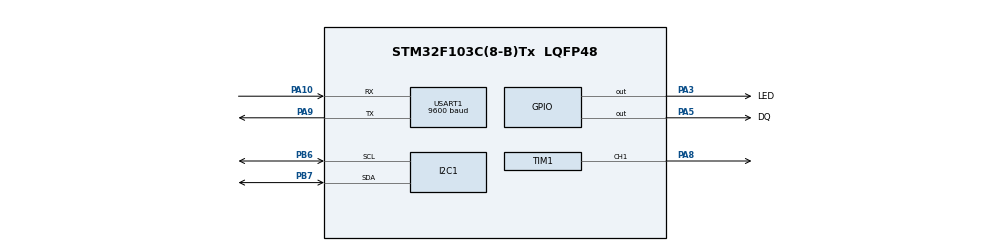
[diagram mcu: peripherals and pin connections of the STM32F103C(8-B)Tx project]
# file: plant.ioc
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Dma.I2C1_RX.2.Direction=DMA_PERIPH_TO_MEMORY
Dma.I2C1_RX.2.Instance=DMA1_Channel7
Dma.I2C1_RX.2.MemDataAlignment=DMA_MDATAALIGN_BYTE
Dma.I2C1_RX.2.MemInc=DMA_MINC_ENABLE
Dma.I2C1_RX.2.Mode=DMA_CIRCULAR
Dma.I2C1_RX.2.PeriphDataAlignment=DMA_PDATAALIGN_BYTE
Dma.I2C1_RX.2.PeriphInc=DMA_PINC_DISABLE
Dma.I2C1_RX.2.Priority=DMA_PRIORITY_LOW
Dma.I2C1_TX.1.Direction=DMA_MEMORY_TO_PERIPH
Dma.I2C1_TX.1.Instance=DMA1_Channel6
Dma.I2C1_TX.1.MemDataAlignment=DMA_MDATAALIGN_BYTE
Dma.I2C1_TX.1.MemInc=DMA_MINC_ENABLE
Dma.I2C1_TX.1.Mode=DMA_CIRCULAR
Dma.I2C1_TX.1.PeriphDataAlignment=DMA_PDATAALIGN_BYTE
Dma.I2C1_TX.1.PeriphInc=DMA_PINC_DISABLE
Dma.I2C1_TX.1.Priority=DMA_PRIORITY_LOW
Dma.Request0=USART1_TX
Dma.Request1=I2C1_TX
Dma.Request2=I2C1_RX
Dma.USART1_TX.0.Direction=DMA_MEMORY_TO_PERIPH
Dma.USART1_TX.0.Instance=DMA1_Channel4
Dma.USART1_TX.0.MemDataAlignment=DMA_MDATAALIGN_BYTE
Dma.USART1_TX.0.MemInc=DMA_MINC_ENABLE
Dma.USART1_TX.0.Mode=DMA_CIRCULAR
Dma.USART1_TX.0.PeriphDataAlignment=DMA_PDATAALIGN_BYTE
Dma.USART1_TX.0.PeriphInc=DMA_PINC_DISABLE
Dma.USART1_TX.0.Priority=DMA_PRIORITY_LOW
I2C1.I2C_Mode=I2C_Standard
Mcu.Family=STM32F1
Mcu.Name=STM32F103C(8-B)Tx
Mcu.Package=LQFP48
NVIC.DMA1_Channel4_IRQn=true\:0\:0\:false\:false\:true\:false\:true\:true
NVIC.DMA1_Channel6_IRQn=true\:0\:0\:false\:false\:true\:false\:true\:true
NVIC.DMA1_Channel7_IRQn=true\:0\:0\:false\:false\:true\:false\:true\:true
NVIC.PriorityGroup=NVIC_PRIORITYGROUP_4
NVIC.USART1_IRQn=true\:0\:0\:false\:false\:true\:true\:true\:true
PA10.Mode=Asynchronous
PA10.Signal=USART1_RX
PA3.GPIO_Label=LED
PA3.GPIO_PuPd=GPIO_PULLUP
PA3.GPIO_Speed=GPIO_SPEED_FREQ_HIGH
PA3.PinState=GPIO_PIN_SET
PA3.Signal=GPIO_Output
PA5.GPIO_Label=DQ
PA5.GPIO_PuPd=GPIO_PULLDOWN
PA5.GPIO_Speed=GPIO_SPEED_FREQ_HIGH
PA5.Signal=GPIO_Output
PA8.Signal=S_TIM1_CH1
PA9.Mode=Asynchronous
PA9.Signal=USART1_TX
PB6.Mode=I2C
PB6.Signal=I2C1_SCL
PB7.Mode=I2C
PB7.Signal=I2C1_SDA
ProjectManager.HeapSize=0x200
ProjectManager.StackSize=0x400
ProjectManager.TargetToolchain=Makefile
RCC.APB1Freq_Value=8000000
RCC.APB2Freq_Value=8000000
SH.S_TIM1_CH1.0=TIM1_CH1,Output Compare1 CH1
TIM1.Channel-Output\ Compare1\ CH1=TIM_CHANNEL_1
USART1.BaudRate=9600
USART1.Mode=MODE_TX_RX
USART1.Parity=PARITY_NONE
USART1.VirtualMode=VM_ASYNC
USART1.WordLength=WORDLENGTH_8B
VP_SYS_VS_ND.Mode=No_Debug
VP_TIM1_VS_ClockSourceINT.Mode=Internal
board=custom

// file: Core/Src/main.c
/* USER CODE BEGIN Header */
/**
  ******************************************************************************
  * @file           : main.c
  * @brief          : Main program body
  ******************************************************************************
  * @attention
  *
  * Copyright (c) 2023 STMicroelectronics.
  * All rights reserved.
  *
  * This software is licensed under terms that can be found in the LICENSE file
  * in the root directory of this software component.
  * If no LICENSE file comes with this software, it is provided AS-IS.
  *
  ******************************************************************************
  */
/* USER CODE END Header */
#include "main.h"
#include "dma.h"
#include "i2c.h"
#include "tim.h"
#include "usart.h"
#include "gpio.h"
#include "string.h"
#include "stdio.h"

/* USER CODE BEGIN PD */
#define SHT20_I2C_ADDRESS 0x80
/* USER CODE END PD */

/* USER CODE BEGIN PV */
float temperature = 0.00;
float humidity;
static char buffer[] = "\r\nData: ";
 static volatile int a = 0;
 static char dididi[20];
/* USER CODE END PV */

void SystemClock_Config(void);

/* USER CODE BEGIN 0 */

void floatToString(float value, char *buffer, int bufferSize, int precision) {
    int intValue = (int)value;
    int fractional = (int)((value - intValue) * 1000000); // 6位小数，可以根据需要调整
    snprintf(buffer, bufferSize, "%d.%06d", intValue, fractional);
}

void LED_Blink(void) {
    uint32_t previousMillis = 0;
    uint32_t currentMillis = HAL_GetTick();

    if (currentMillis - previousMillis >= 500) {
      //control the LED Blink
      HAL_GPIO_TogglePin(LED_GPIO_Port, LED_Pin);
      previousMillis = currentMillis;
    }
}

void TempHumidityRead(void) {
    uint32_t previousMillis = 0;
    uint32_t currentMillis = HAL_GetTick();

    if (currentMillis - previousMillis >= 200) {
      //read Temp & Humid
      uint8_t data[4];
      uint8_t command[2] = {0xE3, 0xE5};
      HAL_I2C_Master_Transmit(&hi2c1, 0x80, &command[0], 1, HAL_MAX_DELAY);
      HAL_Delay(100);

      HAL_I2C_Master_Receive(&hi2c1, 0x80, data, 4, HAL_MAX_DELAY);

      // change the data to readable
      uint16_t rawTemperature = (data[0] << 8) | data[1];
      temperature = -46.85f + 175.72f * (float)rawTemperature / 65536.0f;

      // HAL_Delay(500);
      // HAL_I2C_Master_Transmit(&hi2c1, 0x80, &command[1], 1, HAL_MAX_DELAY);
      // HAL_Delay(200);

      // HAL_I2C_Master_Receive(&hi2c1, 0x80, data, 4, HAL_MAX_DELAY);
      // uint16_t rawHumidity = (data[2] << 8) | data[3];
      // humidity = -6.0f + 125.0f * (float)rawHumidity / 65536.0f;

        previousMillis = currentMillis;
    }
}

void BlueToothSend(void)
{
    uint32_t previousMillis = 0;
    uint32_t currentMillis = HAL_GetTick();
    if (currentMillis - previousMillis >= 200)
    {
      float t = temperature;
      char byteBuffer[21];

      floatToString(t, dididi, sizeof(dididi), 6);
      // // uint32_t tempData;
      //memcpy(&dididi, &t, sizeof(19));
      // // tempData = (tempData);
      // memcpy(buffer, &t, sizeof(50));

      // dididi = byteBuffer;
      // static int rData[4] = {0};

       HAL_UART_Transmit(&huart1, (uint8_t*)dididi, sizeof(dididi)-1, HAL_MAX_DELAY);

      //HAL_UART_Receive(&huart1,(uint8_t*)rData,sizeof(rData)-1, HAL_MAX_DELAY);
      a++;
      previousMillis = currentMillis;
    }
}

/* USER CODE END 0 */

int main(void)
{

  /* MCU Configuration--------------------------------------------------------*/

  /* Reset of all peripherals, Initializes the Flash interface and the Systick. */
  HAL_Init();

  /* Configure the system clock */
  SystemClock_Config();

  /* Initialize all configured peripherals */
  MX_GPIO_Init();
  MX_DMA_Init();
  MX_USART1_UART_Init();
  MX_I2C1_Init();
  MX_TIM1_Init();

  /* Infinite loop */
  while (1)
  {

    /* USER CODE BEGIN 3 */
  static float temp = 0.0f;
  static float humid = 0.0f;

  LED_Blink();

  TempHumidityRead();

  temp = temperature;
  humid = humidity;

   BlueToothSend();
  }
  /* USER CODE END 3 */
}

void SystemClock_Config(void)
{
  RCC_OscInitTypeDef RCC_OscInitStruct = {0};
  RCC_ClkInitTypeDef RCC_ClkInitStruct = {0};

  /** Initializes the RCC Oscillators according to the specified parameters
  * in the RCC_OscInitTypeDef structure.
  */
  RCC_OscInitStruct.OscillatorType = RCC_OSCILLATORTYPE_HSI;
  RCC_OscInitStruct.HSIState = RCC_HSI_ON;
  RCC_OscInitStruct.HSICalibrationValue = RCC_HSICALIBRATION_DEFAULT;
  RCC_OscInitStruct.PLL.PLLState = RCC_PLL_NONE;
  if (HAL_RCC_OscConfig(&RCC_OscInitStruct) != HAL_OK)
  {
    Error_Handler();
  }

  /** Initializes the CPU, AHB and APB buses clocks
  */
  RCC_ClkInitStruct.ClockType = RCC_CLOCKTYPE_HCLK|RCC_CLOCKTYPE_SYSCLK
                              |RCC_CLOCKTYPE_PCLK1|RCC_CLOCKTYPE_PCLK2;
  RCC_ClkInitStruct.SYSCLKSource = RCC_SYSCLKSOURCE_HSI;
  RCC_ClkInitStruct.AHBCLKDivider = RCC_SYSCLK_DIV1;
  RCC_ClkInitStruct.APB1CLKDivider = RCC_HCLK_DIV1;
  RCC_ClkInitStruct.APB2CLKDivider = RCC_HCLK_DIV1;

  if (HAL_RCC_ClockConfig(&RCC_ClkInitStruct, FLASH_LATENCY_0) != HAL_OK)
  {
    Error_Handler();
  }
}

void Error_Handler(void)
{
  __disable_irq();
  while (1)
  {
  }
}
